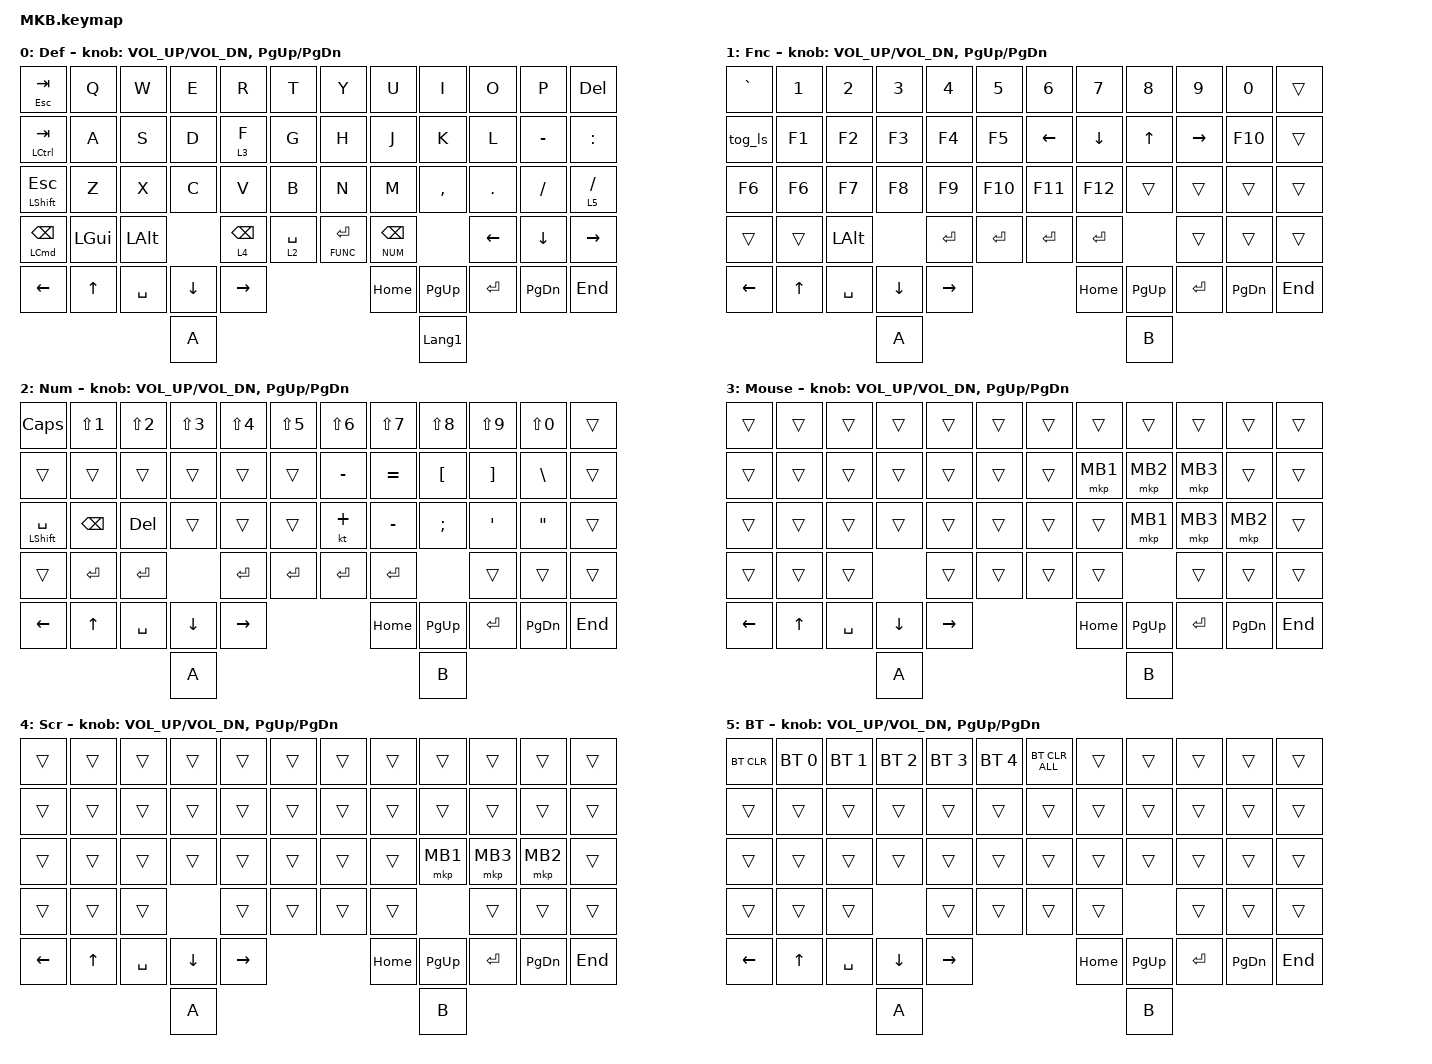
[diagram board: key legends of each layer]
// #include <layout_shift.dtsi>

#include <layout_shift_kp_override.dtsi>
#include <behaviors.dtsi>
#include <dt-bindings/zmk/bt.h>
#include <dt-bindings/zmk/keys.h>
#include <dt-bindings/zmk/pointing.h>

#define DEF 0
#define FUNC 1
#define NUM 2
#define MOUSE 3
#define SCROLL 4
#define BT 5

&mt {
    flavor = "balanced";
    tapping-term-ms = <280>;
    quick-tap-ms = <175>;
    require-prior-idle-ms = <150>;
};

/ {
    keymap {
        compatible = "zmk,keymap";

        default_layer {
            label = "Def";
            bindings = <
&mt ESCAPE TAB      &kp Q     &kp W      &kp E     &kp R            &kp T            &kp Y           &kp U              &kp I           &kp O      &kp P      &kp DEL
&mt LCTRL TAB       &kp A     &kp S      &kp D     &lt 3 F          &kp G            &kp H           &kp J              &kp K           &kp L      &kp MINUS  &kp COLON
&mt LSHFT ESCAPE    &kp Z     &kp X      &kp C     &kp V            &kp B            &kp N           &kp M              &kp COMMA       &kp DOT    &kp SLASH  &lt 5 SLASH
&mt LCMD BACKSPACE  &kp LGUI  &kp LALT             &lt 4 BACKSPACE  &lt 2 SPACE      &lt FUNC ENTER  &lt NUM BACKSPACE                  &kp LEFT   &kp DOWN   &kp RIGHT
&kp LEFT            &kp UP    &kp SPACE  &kp DOWN  &kp RIGHT                                         &kp HOME           &kp PG_UP       &kp ENTER  &kp PG_DN  &kp END
                                         &kp A                                                                          &kp LANGUAGE_1
            >;

            sensor-bindings = <&inc_dec_kp C_VOL_UP C_VOL_DN &inc_dec_kp PG_UP PG_DN>;
        };

        function_layer {
            label = "Fnc";
            bindings = <
&kp GRAVE  &kp NUMBER_1  &kp NUMBER_2  &kp NUMBER_3  &kp NUMBER_4  &kp N5         &kp NUMBER_6    &kp N7          &kp N8        &kp N9           &kp N0     &trans
&tog_ls    &kp F1        &kp F2        &kp F3        &kp F4        &kp F5         &kp LEFT_ARROW  &kp DOWN_ARROW  &kp UP_ARROW  &kp RIGHT_ARROW  &kp F10    &trans
&kp F6     &kp F6        &kp F7        &kp F8        &kp F9        &kp F10        &kp F11         &kp F12         &trans        &trans           &trans     &trans
&trans     &trans        &kp LALT                    &kp ENTER     &kp ENTER      &kp ENTER       &kp ENTER                     &trans           &trans     &trans
&kp LEFT   &kp UP        &kp SPACE     &kp DOWN      &kp RIGHT                                    &kp HOME        &kp PG_UP     &kp ENTER        &kp PG_DN  &kp END
                                       &kp A                                                                      &kp B
            >;

            sensor-bindings = <&inc_dec_kp C_VOL_UP C_VOL_DN &inc_dec_kp PG_UP PG_DN>;
        };

        num_layer {
            label = "Num";
            bindings = <
&kp CAPS         &kp LS(N1)     &kp LS(N2)  &kp LS(N3)  &kp LS(N4)  &kp LS(N5)      &kp LS(N6)  &kp LS(N7)  &kp LS(N8)  &kp LS(N9)  &kp LS(N0)         &trans
&trans           &trans         &trans      &trans      &trans      &trans          &kp MINUS   &kp EQUAL   &kp LBKT    &kp RBKT    &kp BSLH           &trans
&mt LSHFT SPACE  &kp BACKSPACE  &kp DEL     &trans      &trans      &trans          &kt PLUS    &kp MINUS   &kp SEMI    &kp SQT     &kp DOUBLE_QUOTES  &trans
&trans           &kp ENTER      &kp ENTER               &kp ENTER   &kp ENTER       &kp ENTER   &kp ENTER               &trans      &trans             &trans
&kp LEFT         &kp UP         &kp SPACE   &kp DOWN    &kp RIGHT                               &kp HOME    &kp PG_UP   &kp ENTER   &kp PG_DN          &kp END
                                            &kp A                                                           &kp B
            >;

            sensor-bindings = <&inc_dec_kp C_VOL_UP C_VOL_DN &inc_dec_kp PG_UP PG_DN>;
        };

        mouse_layer {
            label = "Mouse";
            bindings = <
&trans    &trans  &trans     &trans    &trans     &trans      &trans  &trans    &trans     &trans     &trans     &trans
&trans    &trans  &trans     &trans    &trans     &trans      &trans  &mkp MB1  &mkp MB2   &mkp MB3   &trans     &trans
&trans    &trans  &trans     &trans    &trans     &trans      &trans  &trans    &mkp MB1   &mkp MB3   &mkp MB2   &trans
&trans    &trans  &trans               &trans     &trans      &trans  &trans               &trans     &trans     &trans
&kp LEFT  &kp UP  &kp SPACE  &kp DOWN  &kp RIGHT                      &kp HOME  &kp PG_UP  &kp ENTER  &kp PG_DN  &kp END
                             &kp A                                              &kp B
            >;

            sensor-bindings = <&inc_dec_kp C_VOL_UP C_VOL_DN &inc_dec_kp PG_UP PG_DN>;
        };

        scroll_layer {
            label = "Scr";
            bindings = <
&trans    &trans  &trans     &trans    &trans     &trans      &trans  &trans    &trans     &trans     &trans     &trans
&trans    &trans  &trans     &trans    &trans     &trans      &trans  &trans    &trans     &trans     &trans     &trans
&trans    &trans  &trans     &trans    &trans     &trans      &trans  &trans    &mkp MB1   &mkp MB3   &mkp MB2   &trans
&trans    &trans  &trans               &trans     &trans      &trans  &trans               &trans     &trans     &trans
&kp LEFT  &kp UP  &kp SPACE  &kp DOWN  &kp RIGHT                      &kp HOME  &kp PG_UP  &kp ENTER  &kp PG_DN  &kp END
                             &kp A                                              &kp B
            >;

            sensor-bindings = <&inc_dec_kp C_VOL_UP C_VOL_DN &inc_dec_kp PG_UP PG_DN>;
        };

        bt_layer {
            label = "BT";
            bindings = <
&bt BT_CLR  &bt BT_SEL 0  &bt BT_SEL 1  &bt BT_SEL 2  &bt BT_SEL 3  &bt BT_SEL 4      &bt BT_CLR_ALL  &trans    &trans     &trans     &trans     &trans
&trans      &trans        &trans        &trans        &trans        &trans            &trans          &trans    &trans     &trans     &trans     &trans
&trans      &trans        &trans        &trans        &trans        &trans            &trans          &trans    &trans     &trans     &trans     &trans
&trans      &trans        &trans                      &trans        &trans            &trans          &trans               &trans     &trans     &trans
&kp LEFT    &kp UP        &kp SPACE     &kp DOWN      &kp RIGHT                                       &kp HOME  &kp PG_UP  &kp ENTER  &kp PG_DN  &kp END
                                        &kp A                                                                   &kp B
            >;

            sensor-bindings = <&inc_dec_kp C_VOL_UP C_VOL_DN &inc_dec_kp PG_UP PG_DN>;
        };
    };
};
